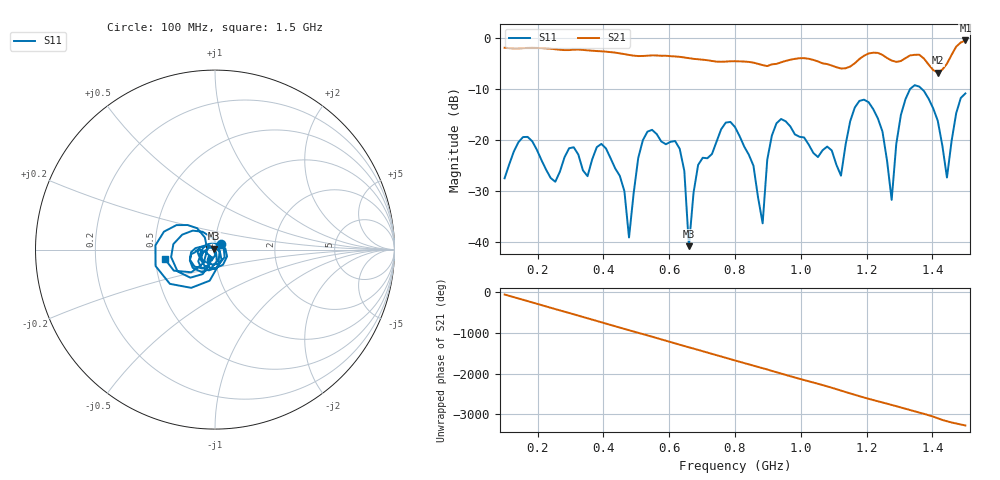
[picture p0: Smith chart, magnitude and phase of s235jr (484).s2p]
! NanoVNA-App
! Date: 2025-09-25 15:07:55
! Start: 100MHz Stop: 1,5GHz Points: 101
! S-Parameter data: F S11 S21 S12 S22
# Hz S RI R 50
!  Frequency  S11_Real  S11_Imag  S21_Real  S21_Imag  S12_Real  S12_Imag  S22_Real  S22_Imag
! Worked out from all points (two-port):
!   101 points, 100 MHz to 1.5 GHz, reference 50 ohm
!   highest |S21| = -0.54 dB at 1.5 GHz (marker M1); lowest = -6.8 dB at 1.416 GHz (marker M2)
!   |S21| within 3 dB of the highest: start of sweep to 497.9 MHz; 528.1 MHz to 591.8 MHz (63.63 MHz wide, 11.4 % of centre) (the widest 2 of 5)
!   lowest |S11| = -40.7 dB at 660 MHz (marker M3), VSWR 1.02, Z = 49.3 + j0.52 ohm
!   |S11| at or under -10 dB: start of sweep to 1.332 GHz; 1.367 GHz to end of sweep
!   S12 and S22 are empty: the file has one direction only
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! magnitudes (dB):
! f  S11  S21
! 100 MHz  -27.5  -2.0
! 156 MHz  -19.4  -2.0
! 338 MHz  -25.9  -2.4
! 408 MHz  -21.6  -2.7
! 478 MHz  -39.0  -3.4
! 520 MHz  -20.0  -3.6
! 576 MHz  -20.3  -3.5
! 632 MHz  -21.7  -3.7
! 660 MHz  -40.7  -4.0
! 688 MHz  -24.9  -4.2
! 800 MHz  -17.5  -4.6
! 884 MHz  -36.3  -5.4
! 926 MHz  -16.7  -5.1
! 1.038 GHz  -22.5  -4.3
! 1.122 GHz  -27.0  -6.0
! 1.164 GHz  -13.6  -5.0
! 1.206 GHz  -12.6  -3.1
! 1.276 GHz  -31.7  -4.5
! 1.332 GHz  -10.0  -3.5
! 1.416 GHz  -16.2  -6.8
! 1.444 GHz  -27.3  -5.1
! 1.5 GHz  -10.9  -0.5
